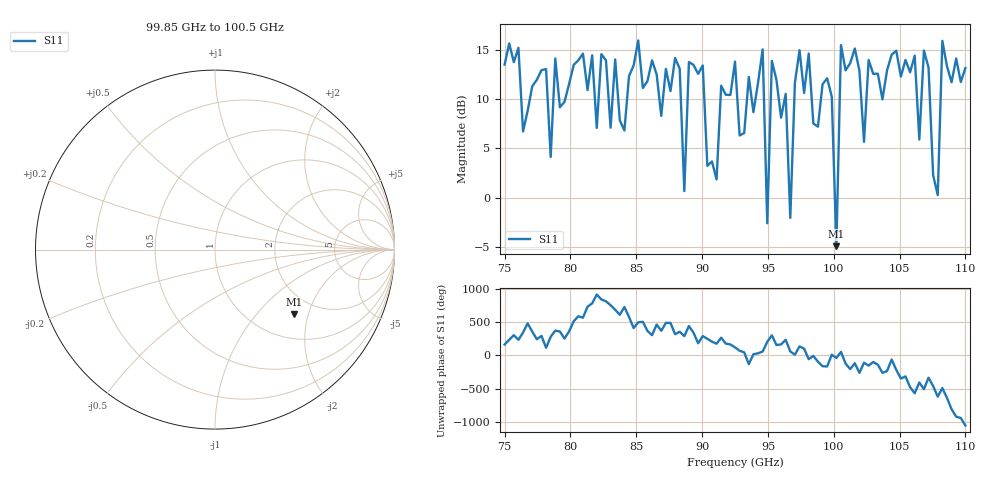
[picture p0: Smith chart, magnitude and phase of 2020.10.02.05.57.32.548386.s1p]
!Created with skrf (http://scikit-rf.org).
# GHz S RI R 50.0
!freq ReS11 ImS11
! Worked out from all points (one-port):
!   101 points, 75 GHz to 110 GHz, reference 50 ohm
!   lowest |S11| = -4.9 dB at 100.2 GHz (marker M1), VSWR 3.63, Z = 76 - j80.9 ohm
!   |S11| at or under -10 dB: nowhere
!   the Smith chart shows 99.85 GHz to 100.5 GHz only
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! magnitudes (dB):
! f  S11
! 75 GHz  13.5
! 79.55 GHz  9.7
! 83.75 GHz  7.8
! 88.3 GHz  13.1
! 88.65 GHz  0.7
! 89 GHz  13.7
! 91.1 GHz  1.8
! 92.5 GHz  13.8
! 92.85 GHz  6.3
! 94.6 GHz  15.0
! 94.95 GHz  -2.6
! 95.3 GHz  13.9
! 96.35 GHz  10.5
! 96.7 GHz  -2.1
! 97.05 GHz  11.6
! 99.5 GHz  12.1
! 99.85 GHz  10.2
! 100.2 GHz  -4.9
! 100.5 GHz  15.5
! 101.2 GHz  13.6
! 102.3 GHz  5.7
! 102.7 GHz  13.9
! 105.8 GHz  12.7
! 106.5 GHz  5.9
! 107.2 GHz  13.2
! 107.9 GHz  0.3
! 108.2 GHz  15.9
! 110 GHz  13.1
